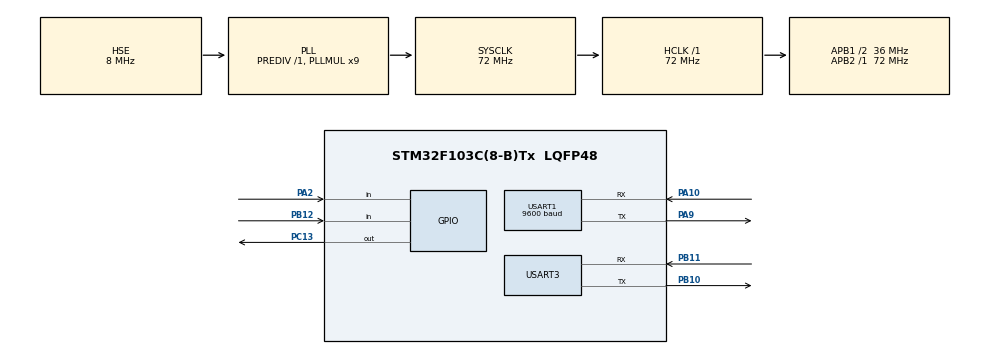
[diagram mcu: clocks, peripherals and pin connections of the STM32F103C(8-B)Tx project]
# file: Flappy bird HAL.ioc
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Dma.Request0=USART3_RX
Dma.Request1=USART1_RX
Dma.USART1_RX.1.Direction=DMA_PERIPH_TO_MEMORY
Dma.USART1_RX.1.Instance=DMA1_Channel5
Dma.USART1_RX.1.MemDataAlignment=DMA_MDATAALIGN_BYTE
Dma.USART1_RX.1.MemInc=DMA_MINC_ENABLE
Dma.USART1_RX.1.Mode=DMA_CIRCULAR
Dma.USART1_RX.1.PeriphDataAlignment=DMA_PDATAALIGN_BYTE
Dma.USART1_RX.1.PeriphInc=DMA_PINC_DISABLE
Dma.USART1_RX.1.Priority=DMA_PRIORITY_LOW
Dma.USART3_RX.0.Direction=DMA_PERIPH_TO_MEMORY
Dma.USART3_RX.0.Instance=DMA1_Channel3
Dma.USART3_RX.0.MemDataAlignment=DMA_MDATAALIGN_BYTE
Dma.USART3_RX.0.MemInc=DMA_MINC_ENABLE
Dma.USART3_RX.0.Mode=DMA_CIRCULAR
Dma.USART3_RX.0.PeriphDataAlignment=DMA_PDATAALIGN_BYTE
Dma.USART3_RX.0.PeriphInc=DMA_PINC_DISABLE
Dma.USART3_RX.0.Priority=DMA_PRIORITY_LOW
Mcu.Family=STM32F1
Mcu.Name=STM32F103C(8-B)Tx
Mcu.Package=LQFP48
NVIC.DMA1_Channel3_IRQn=true\:0\:0\:false\:false\:true\:false
NVIC.DMA1_Channel5_IRQn=true\:0\:0\:false\:false\:true\:false
NVIC.PriorityGroup=NVIC_PRIORITYGROUP_4
NVIC.USART1_IRQn=true\:0\:0\:false\:false\:true\:true
NVIC.USART3_IRQn=true\:0\:0\:false\:false\:true\:true
PA10.Mode=Asynchronous
PA10.Signal=USART1_RX
PA13.Mode=Serial_Wire
PA13.Signal=SYS_JTMS-SWDIO
PA14.Mode=Serial_Wire
PA14.Signal=SYS_JTCK-SWCLK
PA2.GPIO_PuPd=GPIO_PULLUP
PA2.Signal=GPIO_Input
PA9.Mode=Asynchronous
PA9.Signal=USART1_TX
PB10.Mode=Asynchronous
PB10.Signal=USART3_TX
PB11.Mode=Asynchronous
PB11.Signal=USART3_RX
PB12.GPIO_PuPd=GPIO_PULLUP
PB12.Signal=GPIO_Input
PC13-TAMPER-RTC.Signal=GPIO_Output
PD0-OSC_IN.Mode=HSE-External-Oscillator
PD0-OSC_IN.Signal=RCC_OSC_IN
PD1-OSC_OUT.Mode=HSE-External-Oscillator
PD1-OSC_OUT.Signal=RCC_OSC_OUT
ProjectManager.HeapSize=0x200
ProjectManager.StackSize=0x400
ProjectManager.TargetToolchain=MDK-ARM V5
RCC.AHBFreq_Value=72000000
RCC.APB1CLKDivider=RCC_HCLK_DIV2
RCC.APB1Freq_Value=36000000
RCC.APB1TimFreq_Value=72000000
RCC.APB2Freq_Value=72000000
RCC.APB2TimFreq_Value=72000000
RCC.HCLKFreq_Value=72000000
RCC.PLLMUL=RCC_PLL_MUL9
RCC.PLLSourceVirtual=RCC_PLLSOURCE_HSE
RCC.SYSCLKFreq_VALUE=72000000
RCC.SYSCLKSource=RCC_SYSCLKSOURCE_PLLCLK
RCC.USBFreq_Value=72000000
USART1.BaudRate=9600
USART1.VirtualMode=VM_ASYNC
USART3.VirtualMode=VM_ASYNC
board=Flappy bird HAL

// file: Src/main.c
/**
  ******************************************************************************
  * @file           : main.c
  * @brief          : Main program body
  ******************************************************************************
  ** This notice applies to any and all portions of this file
  * that are not between comment pairs USER CODE BEGIN and
  * USER CODE END. Other portions of this file, whether
  * inserted by the user or by software development tools
  * are owned by their respective copyright owners.
  *
  * COPYRIGHT(c) 2018 STMicroelectronics
  *
  * Redistribution and use in source and binary forms, with or without modification,
  * are permitted provided that the following conditions are met:
  *   1. Redistributions of source code must retain the above copyright notice,
  *      this list of conditions and the following disclaimer.
  *   2. Redistributions in binary form must reproduce the above copyright notice,
  *      this list of conditions and the following disclaimer in the documentation
  *      and/or other materials provided with the distribution.
  *   3. Neither the name of STMicroelectronics nor the names of its contributors
  *      may be used to endorse or promote products derived from this software
  *      without specific prior written permission.
  *
  * THIS SOFTWARE IS PROVIDED BY THE COPYRIGHT HOLDERS AND CONTRIBUTORS "AS IS"
  * AND ANY EXPRESS OR IMPLIED WARRANTIES, INCLUDING, BUT NOT LIMITED TO, THE
  * IMPLIED WARRANTIES OF MERCHANTABILITY AND FITNESS FOR A PARTICULAR PURPOSE ARE
  * DISCLAIMED. IN NO EVENT SHALL THE COPYRIGHT HOLDER OR CONTRIBUTORS BE LIABLE
  * FOR ANY DIRECT, INDIRECT, INCIDENTAL, SPECIAL, EXEMPLARY, OR CONSEQUENTIAL
  * DAMAGES (INCLUDING, BUT NOT LIMITED TO, PROCUREMENT OF SUBSTITUTE GOODS OR
  * SERVICES; LOSS OF USE, DATA, OR PROFITS; OR BUSINESS INTERRUPTION) HOWEVER
  * CAUSED AND ON ANY THEORY OF LIABILITY, WHETHER IN CONTRACT, STRICT LIABILITY,
  * OR TORT (INCLUDING NEGLIGENCE OR OTHERWISE) ARISING IN ANY WAY OUT OF THE USE
  * OF THIS SOFTWARE, EVEN IF ADVISED OF THE POSSIBILITY OF SUCH DAMAGE.
  *
  ******************************************************************************
  */
#include "main.h"
#include "stm32f1xx_hal.h"

/* USER CODE BEGIN Includes */
#include "GlobalVariable.h"
/* USER CODE END Includes */

UART_HandleTypeDef huart1;
UART_HandleTypeDef huart3;
DMA_HandleTypeDef hdma_usart1_rx;
DMA_HandleTypeDef hdma_usart3_rx;

/* USER CODE BEGIN PV */
/* Private variables ---------------------------------------------------------*/

unsigned char DataReceivedPC=0;
unsigned char DataTransferPC=0;
char DataTransfer[3];
/* USER CODE END PV */

void SystemClock_Config(void);
static void MX_GPIO_Init(void);
static void MX_DMA_Init(void);
static void MX_USART3_UART_Init(void);
static void MX_USART1_UART_Init(void);

/* USER CODE BEGIN PFP */
/* Private function prototypes -----------------------------------------------*/

/* USER CODE END PFP */

/* USER CODE BEGIN 0 */
int sampleData;
char jump;
/* USER CODE END 0 */

int main(void)
{

  /* MCU Configuration----------------------------------------------------------*/

  /* Reset of all peripherals, Initializes the Flash interface and the Systick. */
  HAL_Init();

  /* Configure the system clock */
  SystemClock_Config();

  /* Initialize all configured peripherals */
  MX_GPIO_Init();
  MX_DMA_Init();
  MX_USART3_UART_Init();
  MX_USART1_UART_Init();
  /* USER CODE BEGIN 2 */

 __HAL_UART_ENABLE_IT(&huart3, UART_IT_RXNE);
  __HAL_UART_ENABLE_IT(&huart3, UART_IT_TC);
 InitSerialIMU_DMA();

 __HAL_UART_ENABLE_IT(&huart1, UART_IT_RXNE);
 __HAL_UART_ENABLE_IT(&huart1, UART_IT_TC);
 HAL_UART_Receive_DMA(&huart1,(uint8_t *)&DataReceivedPC,sizeof(DataReceivedPC));

	resetIMU();
  /* USER CODE END 2 */

  /* Infinite loop */
  /* USER CODE BEGIN WHILE */
  while (1)
  {
		if(!digitalRead(GPIOB,(1<<12))){
			while(!digitalRead(GPIOB,(1<<12))){}digitalWrite(GPIOC,(1<<13),LOW);
				resetIMU();resetIMU();HAL_Delay(3000);

		}

		if(dataRoll-sampleData<=-5&&dataRoll>180){
				jump=1;digitalWrite(GPIOC,(1<<13),LOW);
		}
		else {jump=0;digitalWrite(GPIOC,(1<<13),HIGH);}

  //sprintf(DataTransfer,"DtR= %d || D = %d||H = %d|| Dtjump= %d\n",dataRoll,sampleData,(dataRoll-sampleData),jump);

		sprintf(DataTransfer,"#%d!",jump);
		HAL_UART_Transmit_IT(&huart1,(uint8_t *)DataTransfer,sizeof(DataTransfer));
  /* USER CODE END WHILE */

  }

}

void SystemClock_Config(void)
{

  RCC_OscInitTypeDef RCC_OscInitStruct;
  RCC_ClkInitTypeDef RCC_ClkInitStruct;

    /**Initializes the CPU, AHB and APB busses clocks
    */
  RCC_OscInitStruct.OscillatorType = RCC_OSCILLATORTYPE_HSE;
  RCC_OscInitStruct.HSEState = RCC_HSE_ON;
  RCC_OscInitStruct.HSEPredivValue = RCC_HSE_PREDIV_DIV1;
  RCC_OscInitStruct.HSIState = RCC_HSI_ON;
  RCC_OscInitStruct.PLL.PLLState = RCC_PLL_ON;
  RCC_OscInitStruct.PLL.PLLSource = RCC_PLLSOURCE_HSE;
  RCC_OscInitStruct.PLL.PLLMUL = RCC_PLL_MUL9;
  if (HAL_RCC_OscConfig(&RCC_OscInitStruct) != HAL_OK)
  {
    _Error_Handler(__FILE__, __LINE__);
  }

    /**Initializes the CPU, AHB and APB busses clocks
    */
  RCC_ClkInitStruct.ClockType = RCC_CLOCKTYPE_HCLK|RCC_CLOCKTYPE_SYSCLK
                              |RCC_CLOCKTYPE_PCLK1|RCC_CLOCKTYPE_PCLK2;
  RCC_ClkInitStruct.SYSCLKSource = RCC_SYSCLKSOURCE_PLLCLK;
  RCC_ClkInitStruct.AHBCLKDivider = RCC_SYSCLK_DIV1;
  RCC_ClkInitStruct.APB1CLKDivider = RCC_HCLK_DIV2;
  RCC_ClkInitStruct.APB2CLKDivider = RCC_HCLK_DIV1;

  if (HAL_RCC_ClockConfig(&RCC_ClkInitStruct, FLASH_LATENCY_2) != HAL_OK)
  {
    _Error_Handler(__FILE__, __LINE__);
  }

    /**Configure the Systick interrupt time
    */
  HAL_SYSTICK_Config(HAL_RCC_GetHCLKFreq()/1000);

    /**Configure the Systick
    */
  HAL_SYSTICK_CLKSourceConfig(SYSTICK_CLKSOURCE_HCLK);

  /* SysTick_IRQn interrupt configuration */
  HAL_NVIC_SetPriority(SysTick_IRQn, 0, 0);
}

/* USART1 init function */
static void MX_USART1_UART_Init(void)
{

  huart1.Instance = USART1;
  huart1.Init.BaudRate = 9600;
  huart1.Init.WordLength = UART_WORDLENGTH_8B;
  huart1.Init.StopBits = UART_STOPBITS_1;
  huart1.Init.Parity = UART_PARITY_NONE;
  huart1.Init.Mode = UART_MODE_TX_RX;
  huart1.Init.HwFlowCtl = UART_HWCONTROL_NONE;
  huart1.Init.OverSampling = UART_OVERSAMPLING_16;
  if (HAL_UART_Init(&huart1) != HAL_OK)
  {
    _Error_Handler(__FILE__, __LINE__);
  }

}

/* USART3 init function */
static void MX_USART3_UART_Init(void)
{

  huart3.Instance = USART3;
  huart3.Init.BaudRate = 115200;
  huart3.Init.WordLength = UART_WORDLENGTH_8B;
  huart3.Init.StopBits = UART_STOPBITS_1;
  huart3.Init.Parity = UART_PARITY_NONE;
  huart3.Init.Mode = UART_MODE_TX_RX;
  huart3.Init.HwFlowCtl = UART_HWCONTROL_NONE;
  huart3.Init.OverSampling = UART_OVERSAMPLING_16;
  if (HAL_UART_Init(&huart3) != HAL_OK)
  {
    _Error_Handler(__FILE__, __LINE__);
  }

}

static void MX_DMA_Init(void)
{
  /* DMA controller clock enable */
  __HAL_RCC_DMA1_CLK_ENABLE();

  /* DMA interrupt init */
  /* DMA1_Channel3_IRQn interrupt configuration */
  HAL_NVIC_SetPriority(DMA1_Channel3_IRQn, 0, 0);
  HAL_NVIC_EnableIRQ(DMA1_Channel3_IRQn);
  /* DMA1_Channel5_IRQn interrupt configuration */
  HAL_NVIC_SetPriority(DMA1_Channel5_IRQn, 0, 0);
  HAL_NVIC_EnableIRQ(DMA1_Channel5_IRQn);

}

/** Configure pins as
        * Analog
        * Input
        * Output
        * EVENT_OUT
        * EXTI
*/
static void MX_GPIO_Init(void)
{

  GPIO_InitTypeDef GPIO_InitStruct;

  /* GPIO Ports Clock Enable */
  __HAL_RCC_GPIOC_CLK_ENABLE();
  __HAL_RCC_GPIOD_CLK_ENABLE();
  __HAL_RCC_GPIOA_CLK_ENABLE();
  __HAL_RCC_GPIOB_CLK_ENABLE();

  /*Configure GPIO pin Output Level */
  HAL_GPIO_WritePin(GPIOC, GPIO_PIN_13, GPIO_PIN_RESET);

  /*Configure GPIO pin : PC13 */
  GPIO_InitStruct.Pin = GPIO_PIN_13;
  GPIO_InitStruct.Mode = GPIO_MODE_OUTPUT_PP;
  GPIO_InitStruct.Speed = GPIO_SPEED_FREQ_LOW;
  HAL_GPIO_Init(GPIOC, &GPIO_InitStruct);

  /*Configure GPIO pin : PA2 */
  GPIO_InitStruct.Pin = GPIO_PIN_2;
  GPIO_InitStruct.Mode = GPIO_MODE_INPUT;
  GPIO_InitStruct.Pull = GPIO_PULLUP;
  HAL_GPIO_Init(GPIOA, &GPIO_InitStruct);

  /*Configure GPIO pin : PB12 */
  GPIO_InitStruct.Pin = GPIO_PIN_12;
  GPIO_InitStruct.Mode = GPIO_MODE_INPUT;
  GPIO_InitStruct.Pull = GPIO_PULLUP;
  HAL_GPIO_Init(GPIOB, &GPIO_InitStruct);

}

/* USER CODE BEGIN 4 */
void HAL_UART_RxCpltCallback(UART_HandleTypeDef *huart)
{
	if(huart->Instance==huart3.Instance)
	{

	}
}
/* USER CODE END 4 */

void _Error_Handler(char *file, int line)
{
  while(1)
  {
  }
}

/************************ (C) COPYRIGHT STMicroelectronics *****END OF FILE****/
